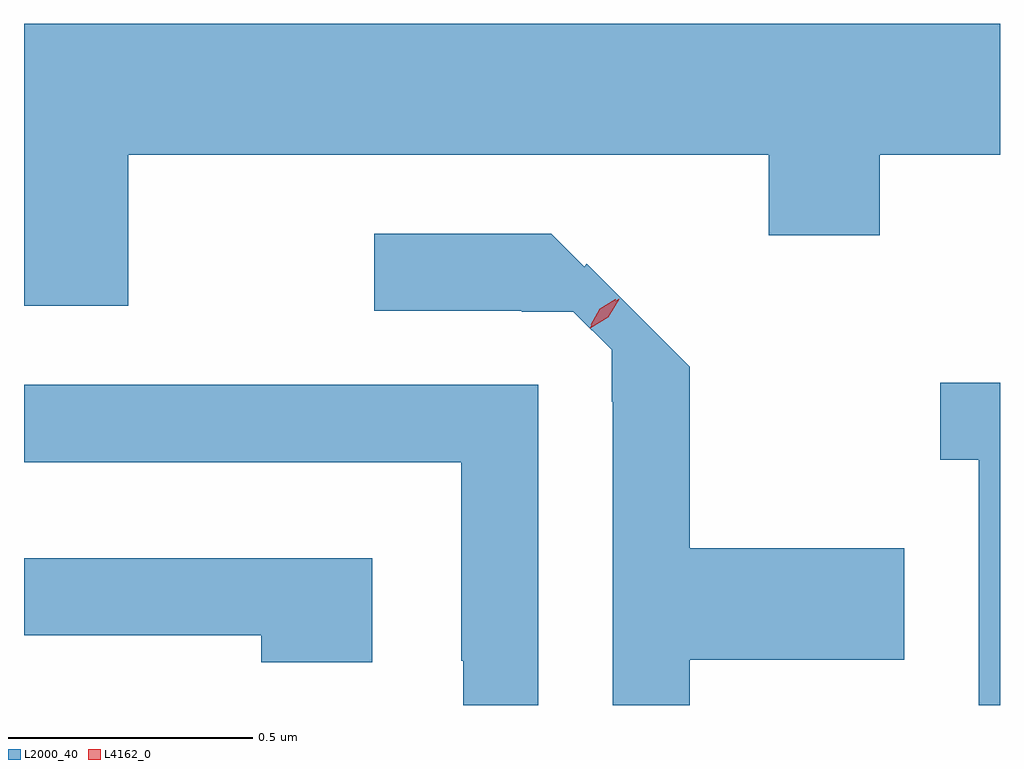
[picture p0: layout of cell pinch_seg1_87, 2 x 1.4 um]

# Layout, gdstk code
import gdstk
lib = gdstk.Library(unit=1e-6, precision=1e-09)
def P(c, l, *ps):  # polygons
    for p in ps: c.add(gdstk.Polygon(p, *l))
L2000_40 = (2000, 40)
L4162_0 = (4162, 0)

pinch_seg1_87 = lib.new_cell('pinch_seg1_87')
P(pinch_seg1_87, L2000_40, [(1021.839,923.996),(1023.151,923.996),(1023.151,923.831),(1023.379,923.831),(1023.379,923.996),(1023.625,923.996),(1023.625,924.264),(1021.625,924.264),(1021.625,923.686),(1021.839,923.686)],
  [(1022.989,922.961),(1023.429,922.961),(1023.429,923.189),(1022.989,923.189),(1022.989,923.561),(1022.778,923.772),(1022.773,923.766),(1022.705,923.834),(1022.343,923.834),(1022.343,923.676),(1022.645,923.676),(1022.645,923.674),(1022.751,923.674),(1022.829,923.596),(1022.829,923.49),(1022.831,923.49),(1022.831,922.868),(1022.989,922.868)],
  [(1023.625,923.529),(1023.503,923.529),(1023.503,923.371),(1023.581,923.371),(1023.581,922.868),(1023.625,922.868)],
  [(1022.679,923.524),(1021.625,923.524),(1021.625,923.366),(1022.521,923.366),(1022.521,922.959),(1022.525,922.959),(1022.525,922.868),(1022.679,922.868)],
  [(1022.339,923.169),(1021.625,923.169),(1021.625,923.011),(1022.111,923.011),(1022.111,922.956),(1022.339,922.956)])
P(pinch_seg1_87, L4162_0, [(1022.784,923.64),(1022.784,923.64),(1022.808,923.677),(1022.845,923.701),(1022.845,923.701),(1022.845,923.7),(1022.822,923.663),(1022.785,923.64)],
  [(1022.786,923.647),(1022.786,923.647),(1022.805,923.68),(1022.837,923.7),(1022.838,923.7),(1022.838,923.699),(1022.819,923.666),(1022.787,923.647)])

lib.write_gds('pinch_seg1_87.gds')
